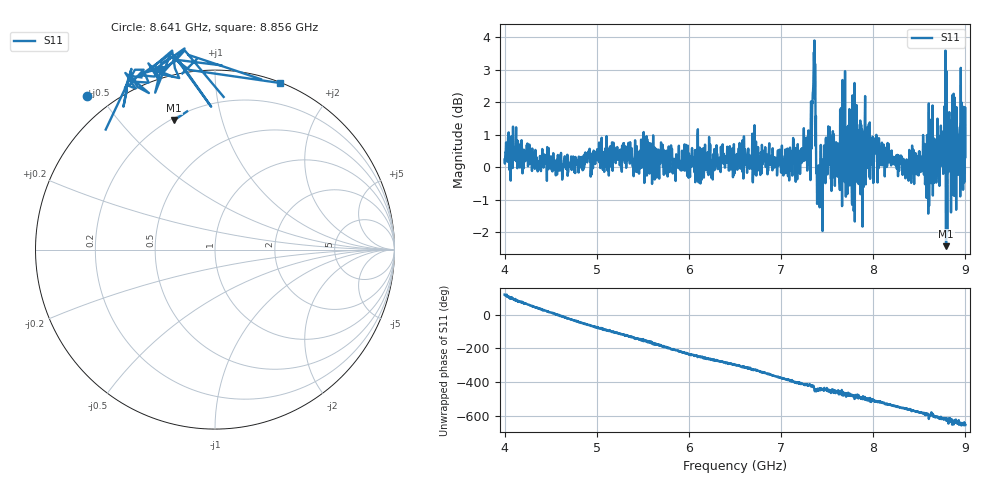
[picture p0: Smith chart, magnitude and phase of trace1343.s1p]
! Created with skrf 1.8.0 (http://scikit-rf.org).
# Hz S RI R 50.0
!freq ReS11 ImS11
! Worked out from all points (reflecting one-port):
!   1601 points, 4 GHz to 9 GHz, reference 50 ohm
!   lowest |S11| = -2.4 dB at 8.791 GHz (marker M1), VSWR 7.20, Z = 10.6 + j35.6 ohm
!   phase of S11 starts at 120 deg and turns -772 deg over the sweep
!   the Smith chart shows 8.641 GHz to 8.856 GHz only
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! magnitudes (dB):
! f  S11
! 4 GHz  0.2
! 4.625 GHz  -0.4
! 5.25 GHz  0.1
! 5.875 GHz  0.0
! 6.5 GHz  0.1
! 7.125 GHz  0.4
! 7.294 GHz  0.3
! 7.325 GHz  2.0
! 7.347 GHz  2.3
! 7.369 GHz  3.2
! 7.4 GHz  -0.7
! 7.412 GHz  -0.2
! 7.509 GHz  0.6
! 7.612 GHz  0.5
! 7.669 GHz  2.1
! 7.75 GHz  0.4
! 7.791 GHz  -1.2
! 7.822 GHz  0.5
! 7.872 GHz  0.5
! 7.928 GHz  0.2
! 7.981 GHz  0.1
! 8.375 GHz  0.0
! 8.575 GHz  0.3
! 8.628 GHz  -0.5
! 8.791 GHz  -2.4
! 8.919 GHz  -0.2
! 8.959 GHz  2.0
! 9 GHz  0.3
